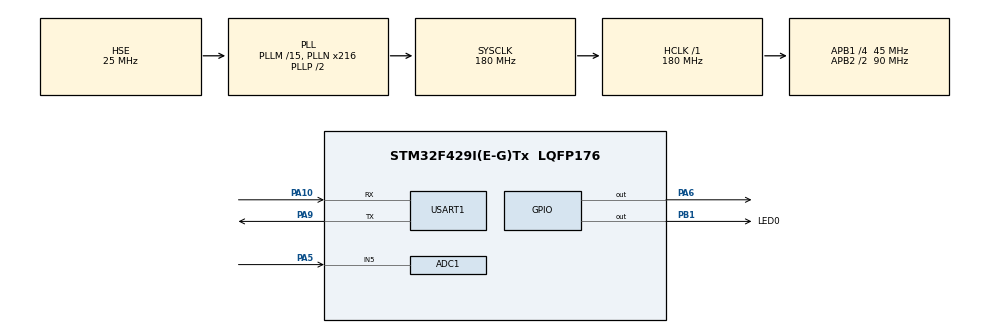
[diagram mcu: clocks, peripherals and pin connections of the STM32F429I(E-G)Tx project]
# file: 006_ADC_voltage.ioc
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ADC1.Channel-2\#ChannelRegularConversion=ADC_CHANNEL_5
ADC1.DataAlign=ADC_DATAALIGN_RIGHT
ADC1.NbrOfConversionFlag=1
ADC1.Rank-2\#ChannelRegularConversion=1
ADC1.SamplingTime-2\#ChannelRegularConversion=ADC_SAMPLETIME_3CYCLES
ADC1.master=1
Mcu.Family=STM32F4
Mcu.Name=STM32F429I(E-G)Tx
Mcu.Package=LQFP176
NVIC.PriorityGroup=NVIC_PRIORITYGROUP_4
NVIC.USART1_IRQn=true\:0\:0\:false\:false\:true\:true\:true
PA10.Mode=Asynchronous
PA10.Signal=USART1_RX
PA13.Mode=Serial_Wire
PA13.Signal=SYS_JTMS-SWDIO
PA14.Mode=Serial_Wire
PA14.Signal=SYS_JTCK-SWCLK
PA5.Signal=ADCx_IN5
PA6.Signal=GPIO_Output
PA9.Mode=Asynchronous
PA9.Signal=USART1_TX
PB1.GPIO_Label=LED0
PB1.Signal=GPIO_Output
PC14/OSC32_IN.Mode=LSE-External-Oscillator
PC14/OSC32_IN.Signal=RCC_OSC32_IN
PC15/OSC32_OUT.Mode=LSE-External-Oscillator
PC15/OSC32_OUT.Signal=RCC_OSC32_OUT
PH0/OSC_IN.Mode=HSE-External-Oscillator
PH0/OSC_IN.Signal=RCC_OSC_IN
PH1/OSC_OUT.Mode=HSE-External-Oscillator
PH1/OSC_OUT.Signal=RCC_OSC_OUT
ProjectManager.HeapSize=0x200
ProjectManager.StackSize=0x400
ProjectManager.TargetToolchain=MDK-ARM V5.27
RCC.48MHZClocksFreq_Value=90000000
RCC.AHBFreq_Value=180000000
RCC.APB1CLKDivider=RCC_HCLK_DIV4
RCC.APB1Freq_Value=45000000
RCC.APB1TimFreq_Value=90000000
RCC.APB2CLKDivider=RCC_HCLK_DIV2
RCC.APB2Freq_Value=90000000
RCC.APB2TimFreq_Value=180000000
RCC.CortexFreq_Value=180000000
RCC.HCLKFreq_Value=180000000
RCC.HSE_VALUE=25000000
RCC.HSI_VALUE=16000000
RCC.PLLM=15
RCC.PLLN=216
RCC.PLLSourceVirtual=RCC_PLLSOURCE_HSE
RCC.SYSCLKFreq_VALUE=180000000
RCC.SYSCLKSource=RCC_SYSCLKSOURCE_PLLCLK
RCC.VCOOutputFreq_Value=360000000
SH.ADCx_IN5.0=ADC1_IN5,IN5
USART1.VirtualMode=VM_ASYNC
board=custom

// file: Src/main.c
/* USER CODE BEGIN Header */
/**
  ******************************************************************************
  * @file           : main.c
  * @brief          : Main program body
  ******************************************************************************
  * @attention
  *
  * <h2><center>&copy; Copyright (c) 2021 STMicroelectronics.
  * All rights reserved.</center></h2>
  *
  * This software component is licensed by ST under BSD 3-Clause license,
  * the "License"; You may not use this file except in compliance with the
  * License. You may obtain a copy of the License at:
  *                        opensource.org/licenses/BSD-3-Clause
  *
  ******************************************************************************
  */
/* USER CODE END Header */

#include "main.h"
#include "adc.h"
#include "usart.h"
#include "gpio.h"

/* USER CODE BEGIN Includes */
#include "stdio.h"

/* USER CODE END Includes */

void SystemClock_Config(void);

/* USER CODE BEGIN 0 */
#define LED0_ON()  HAL_GPIO_WritePin(LED0_GPIO_Port,LED0_Pin,GPIO_PIN_RESET)
#define LED0_OFF()  HAL_GPIO_WritePin(LED0_GPIO_Port,LED0_Pin,GPIO_PIN_SET)

uint16_t ADC1_Value = 0,ADC1_Volt = 0;
uint8_t str_buff[64] = {0};
uint8_t str_1[] = "=============LongYorke:Hello,my friend！=============/r/n";

void usart1_conv_info(void)
{
	sprintf((char *)str_buff,"采样值：%d		电压值：%d.%d%dV\r\n",ADC1_Value,(ADC1_Volt/100)%10,(ADC1_Volt/10)%10,ADC1_Volt%10);
	HAL_UART_Transmit(&huart1,str_buff,sizeof(str_buff),10000);
}

void read_adc1(void)
{
	HAL_ADC_Start(&hadc1);

	if(HAL_OK == HAL_ADC_PollForConversion(&hadc1,100))
	{
		ADC1_Value = HAL_ADC_GetValue(&hadc1);
		ADC1_Volt = ((ADC1_Value * 330 / 4096) - 330)*(-1);
	}

	LED0_OFF();
	HAL_ADC_Stop(&hadc1);

}

/* USER CODE END 0 */

int main(void)
{

  /* MCU Configuration--------------------------------------------------------*/

  /* Reset of all peripherals, Initializes the Flash interface and the Systick. */
  HAL_Init();

  /* Configure the system clock */
  SystemClock_Config();

  /* Initialize all configured peripherals */
  MX_GPIO_Init();
  MX_ADC1_Init();
  MX_USART1_UART_Init();
  /* USER CODE BEGIN 2 */
	HAL_UART_Transmit(&huart1,str_1,sizeof(str_1),10000);
  /* USER CODE END 2 */

  /* Infinite loop */
  /* USER CODE BEGIN WHILE */
  while (1)
  {
		LED0_ON();
		read_adc1();
		usart1_conv_info();
		HAL_Delay(500);

    /* USER CODE END WHILE */

  }
}

void SystemClock_Config(void)
{
  RCC_OscInitTypeDef RCC_OscInitStruct = {0};
  RCC_ClkInitTypeDef RCC_ClkInitStruct = {0};

  /** Configure the main internal regulator output voltage
  */
  __HAL_RCC_PWR_CLK_ENABLE();
  __HAL_PWR_VOLTAGESCALING_CONFIG(PWR_REGULATOR_VOLTAGE_SCALE1);
  /** Initializes the CPU, AHB and APB busses clocks
  */
  RCC_OscInitStruct.OscillatorType = RCC_OSCILLATORTYPE_HSE;
  RCC_OscInitStruct.HSEState = RCC_HSE_ON;
  RCC_OscInitStruct.PLL.PLLState = RCC_PLL_ON;
  RCC_OscInitStruct.PLL.PLLSource = RCC_PLLSOURCE_HSE;
  RCC_OscInitStruct.PLL.PLLM = 15;
  RCC_OscInitStruct.PLL.PLLN = 216;
  RCC_OscInitStruct.PLL.PLLP = RCC_PLLP_DIV2;
  RCC_OscInitStruct.PLL.PLLQ = 4;
  if (HAL_RCC_OscConfig(&RCC_OscInitStruct) != HAL_OK)
  {
    Error_Handler();
  }
  /** Activate the Over-Drive mode
  */
  if (HAL_PWREx_EnableOverDrive() != HAL_OK)
  {
    Error_Handler();
  }
  /** Initializes the CPU, AHB and APB busses clocks
  */
  RCC_ClkInitStruct.ClockType = RCC_CLOCKTYPE_HCLK|RCC_CLOCKTYPE_SYSCLK
                              |RCC_CLOCKTYPE_PCLK1|RCC_CLOCKTYPE_PCLK2;
  RCC_ClkInitStruct.SYSCLKSource = RCC_SYSCLKSOURCE_PLLCLK;
  RCC_ClkInitStruct.AHBCLKDivider = RCC_SYSCLK_DIV1;
  RCC_ClkInitStruct.APB1CLKDivider = RCC_HCLK_DIV4;
  RCC_ClkInitStruct.APB2CLKDivider = RCC_HCLK_DIV2;

  if (HAL_RCC_ClockConfig(&RCC_ClkInitStruct, FLASH_LATENCY_5) != HAL_OK)
  {
    Error_Handler();
  }
}

void Error_Handler(void)
{
}

/************************ (C) COPYRIGHT STMicroelectronics *****END OF FILE****/
